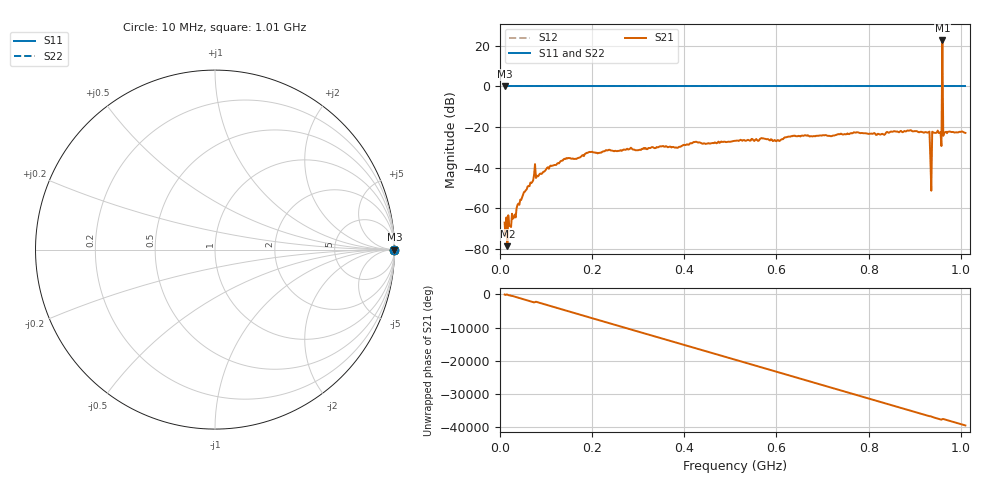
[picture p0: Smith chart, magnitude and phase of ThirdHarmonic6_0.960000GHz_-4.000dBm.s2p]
! 8/16/2025 7:05:47 AM
! C:\ANRITSUVNA\TEMP\TEMP.S2P
! CHANNEL.1
! TR.MEASUREMENT
! RAW.DATA
! RF.CORRECTION.OFF
! AVERAGING.OFF
! IF.BANDWIDTH: 5KHZ
! SWEEPTYPE:  FREQ.SWEEP(Linear)
! Reference Plane Port Info
! PORT:  PORT1  PORT2
! DISTANCE:  0  m  0  m
! TIME:  0  s  0  s
! PHASE.OFFSET:  0  deg.  0  deg.
! LOSS:  0  dB  0  dB
! REF.LOSS:  0  dB  0  dB
! REF.FREQ:  0  Hz  0  Hz
! Power Info
! POWER:  -20  dBm  -20  dBm
! EFF.POWER:  -20  dBm  -20  dBm
! SOURCE.ATTEN:  0  dB  0  dB
! TEST.ATTEN:  0  dB  0  dB
# GHZ S RI R 50.0
! FREQ.GHZ  S11RE  S11IM  S21RE  S21IM  S12RE  S12IM  S22RE  S22IM
!; PortSelection: Port_12
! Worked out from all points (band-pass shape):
!   501 points, 10 MHz to 1.01 GHz, reference 50 ohm
!   highest |S21| = 22.56 dB at 960 MHz (marker M1); lowest = -78.6 dB at 16 MHz (marker M2)
!   |S21| within 3 dB of the highest: 959.8845 MHz to 960.1279 MHz (243.4 kHz wide, 0.0254 % of centre)
!   lowest |S11| = 0.0 dB at 10 MHz (marker M3)
!   |S11| at or under -10 dB: nowhere
!   |S22| runs from 0.0 to 0.0 dB; largest |S21 - S12| = 13
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0.01  1 0  0.000114 -0.00043  1 0  1 0
0.016  1 0  2.33e-05 -0.000115  1 0  1 0
0.02  1 0  0.000297 0.000219  1 0  1 0
0.022  1 0  0.000101 0.000349  1 0  1 0
0.04  1 0  0.00106 0.000762  1 0  1 0
0.076  1 0  -0.0119 0.00242  1 0  1 0
0.142  1 0  -0.0148 -0.00674  1 0  1 0
0.178  1 0  -0.019 -0.00552  1 0  1 0
0.344  1 0  0.0316 -0.00401  1 0  1 0
0.51  1 0  -0.0444 0.0108  1 0  1 0
0.678  1 0  -0.0193 -0.0552  1 0  1 0
0.844  1 0  0.0416 0.0586  1 0  1 0
0.928  1 0  -0.00406 -0.0722  1 0  1 0
0.932  1 0  -0.0205 0.074  1 0  1 0
0.938  1 0  -0.0539 -0.0542  1 0  1 0
0.942  1 0  0.034 0.0638  1 0  1 0
0.954  1 0  0.038 -0.0614  1 0  1 0
0.956  1 0  -0.0557 -0.0507  1 0  1 0
0.96  1 0  9.556 -9.435  1 0  1 0
0.964  1 0  -0.0152 -0.0702  1 0  1 0
0.966  1 0  -0.0739 0.000979  1 0  1 0
1.01  1 0  -0.0644 -0.031  1 0  1 0
